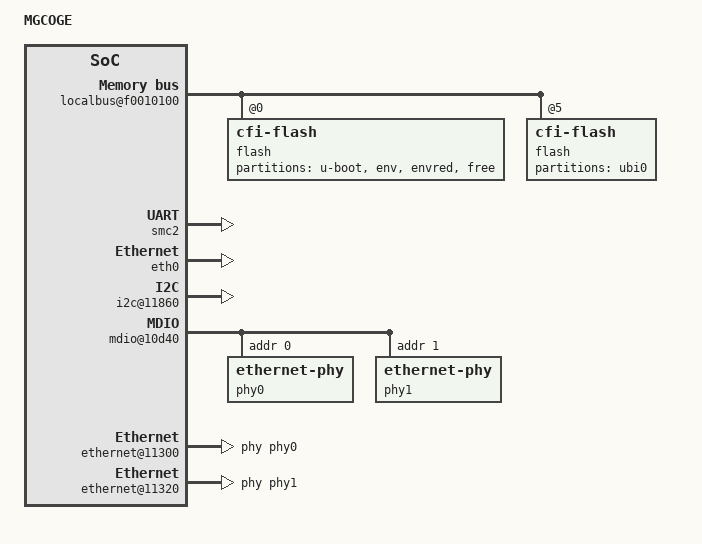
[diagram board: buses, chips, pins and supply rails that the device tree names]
/*
 * Device Tree for the MGCOGE plattform from keymile
 *
 * Copyright 2008 DENX Software Engineering GmbH
 * Heiko Schocher <hs@denx.de>
 *
 * This program is free software; you can redistribute  it and/or modify it
 * under  the terms of  the GNU General  Public License as published by the
 * Free Software Foundation;  either version 2 of the  License, or (at your
 * option) any later version.
 */

/dts-v1/;
/ {
	model = "MGCOGE";
	compatible = "keymile,km82xx";
	#address-cells = <1>;
	#size-cells = <1>;

	aliases {
		ethernet0 = &eth0;
		serial0 = &smc2;
	};

	cpus {
		#address-cells = <1>;
		#size-cells = <0>;

		PowerPC,8247@0 {
			device_type = "cpu";
			reg = <0>;
			d-cache-line-size = <32>;
			i-cache-line-size = <32>;
			d-cache-size = <16384>;
			i-cache-size = <16384>;
			timebase-frequency = <0>; /* Filled in by U-Boot */
			clock-frequency = <0>; /* Filled in by U-Boot */
			bus-frequency = <0>; /* Filled in by U-Boot */
		};
	};

	localbus@f0010100 {
		compatible = "fsl,mpc8247-localbus",
		             "fsl,pq2-localbus",
		             "simple-bus";
		#address-cells = <2>;
		#size-cells = <1>;
		reg = <0xf0010100 0x40>;

		ranges = <0 0 0xfe000000 0x00400000
			  1 0 0x30000000 0x00010000
			  2 0 0x40000000 0x00010000
			  5 0 0x50000000 0x04000000
			>;

		flash@0,0 {
			compatible = "cfi-flash";
			reg = <0 0x0 0x400000>;
			#address-cells = <1>;
			#size-cells = <1>;
			bank-width = <1>;
			device-width = <1>;
			partition@0 {
				label = "u-boot";
				reg = <0x00000 0xC0000>;
			};
			partition@1 {
				label = "env";
				reg = <0xC0000 0x20000>;
			};
			partition@2 {
				label = "envred";
				reg = <0xE0000 0x20000>;
			};
			partition@3 {
				label = "free";
				reg = <0x100000 0x300000>;
			};
		};

		flash@5,0 {
			compatible = "cfi-flash";
			reg = <5 0x00000000 0x02000000
			       5 0x02000000 0x02000000>;
			#address-cells = <1>;
			#size-cells = <1>;
			bank-width = <2>;
			partition@app { /* 64 MBytes */
				label = "ubi0";
				reg = <0x00000000 0x04000000>;
			};
		};
	};

	memory {
		device_type = "memory";
		reg = <0 0>; /* Filled in by U-Boot */
	};

	soc@f0000000 {
		#address-cells = <1>;
		#size-cells = <1>;
		compatible = "fsl,mpc8247-immr", "fsl,pq2-soc", "simple-bus";
		ranges = <0x00000000 0xf0000000 0x00053000>;

		// Temporary until code stops depending on it.
		device_type = "soc";

		cpm@119c0 {
			#address-cells = <1>;
			#size-cells = <1>;
			#interrupt-cells = <2>;
			compatible = "fsl,mpc8247-cpm", "fsl,cpm2",
					"simple-bus";
			reg = <0x119c0 0x30>;
			ranges;

			muram {
				compatible = "fsl,cpm-muram";
				#address-cells = <1>;
				#size-cells = <1>;
				ranges = <0 0 0x10000>;

				data@0 {
					compatible = "fsl,cpm-muram-data";
					reg = <0x80 0x1f80 0x9800 0x800>;
				};
			};

			brg@119f0 {
				compatible = "fsl,mpc8247-brg",
				             "fsl,cpm2-brg",
				             "fsl,cpm-brg";
				reg = <0x119f0 0x10 0x115f0 0x10>;
			};

			/* Monitor port/SMC2 */
			smc2: serial@11a90 {
				device_type = "serial";
				compatible = "fsl,mpc8247-smc-uart",
				             "fsl,cpm2-smc-uart";
				reg = <0x11a90 0x20 0x88fc 0x02>;
				interrupts = <5 8>;
				interrupt-parent = <&PIC>;
				fsl,cpm-brg = <2>;
				fsl,cpm-command = <0x21200000>;
				current-speed = <0>; /* Filled in by U-Boot */
			};

			eth0: ethernet@11a60 {
				device_type = "network";
				compatible = "fsl,mpc8247-scc-enet",
				             "fsl,cpm2-scc-enet";
				reg = <0x11a60 0x20 0x8300 0x100 0x11390 1>;
				local-mac-address = [ 00 00 00 00 00 00 ]; /* Filled in by U-Boot */
				interrupts = <43 8>;
				interrupt-parent = <&PIC>;
				linux,network-index = <0>;
				fsl,cpm-command = <0xce00000>;
				fixed-link = <0 0 10 0 0>;
			};

			i2c@11860 {
				compatible = "fsl,mpc8272-i2c",
					     "fsl,cpm2-i2c";
				reg = <0x11860 0x20 0x8afc 0x2>;
				interrupts = <1 8>;
				interrupt-parent = <&PIC>;
				fsl,cpm-command = <0x29600000>;
				#address-cells = <1>;
				#size-cells = <0>;
			};

			mdio@10d40 {
				compatible = "fsl,cpm2-mdio-bitbang";
				reg = <0x10d00 0x14>;
				#address-cells = <1>;
				#size-cells = <0>;
				fsl,mdio-pin = <12>;
				fsl,mdc-pin = <13>;

				phy0: ethernet-phy@0 {
					reg = <0x0>;
				};

				phy1: ethernet-phy@1 {
					reg = <0x1>;
				};
			};

			/* FCC1 management to switch */
			ethernet@11300 {
				device_type = "network";
				compatible = "fsl,cpm2-fcc-enet";
				reg = <0x11300 0x20 0x8400 0x100 0x11390 0x1>;
				local-mac-address = [ 00 01 02 03 04 07 ];
				interrupts = <32 8>;
				interrupt-parent = <&PIC>;
				phy-handle = <&phy0>;
				linux,network-index = <1>;
				fsl,cpm-command = <0x12000300>;
			};

			/* FCC2 to redundant core unit over backplane */
			ethernet@11320 {
				device_type = "network";
				compatible = "fsl,cpm2-fcc-enet";
				reg = <0x11320 0x20 0x8500 0x100 0x113b0 0x1>;
				local-mac-address = [ 00 01 02 03 04 08 ];
				interrupts = <33 8>;
				interrupt-parent = <&PIC>;
				phy-handle = <&phy1>;
				linux,network-index = <2>;
				fsl,cpm-command = <0x16200300>;
			};
		};

		cpm2_pio_c: gpio-controller@10d40 {
			#gpio-cells = <2>;
			compatible = "fsl,cpm2-pario-bank";
			reg = <0x10d40 0x14>;
			gpio-controller;
		};

		PIC: interrupt-controller@10c00 {
			#interrupt-cells = <2>;
			interrupt-controller;
			reg = <0x10c00 0x80>;
			compatible = "fsl,mpc8247-pic", "fsl,pq2-pic";
		};
	};
};
